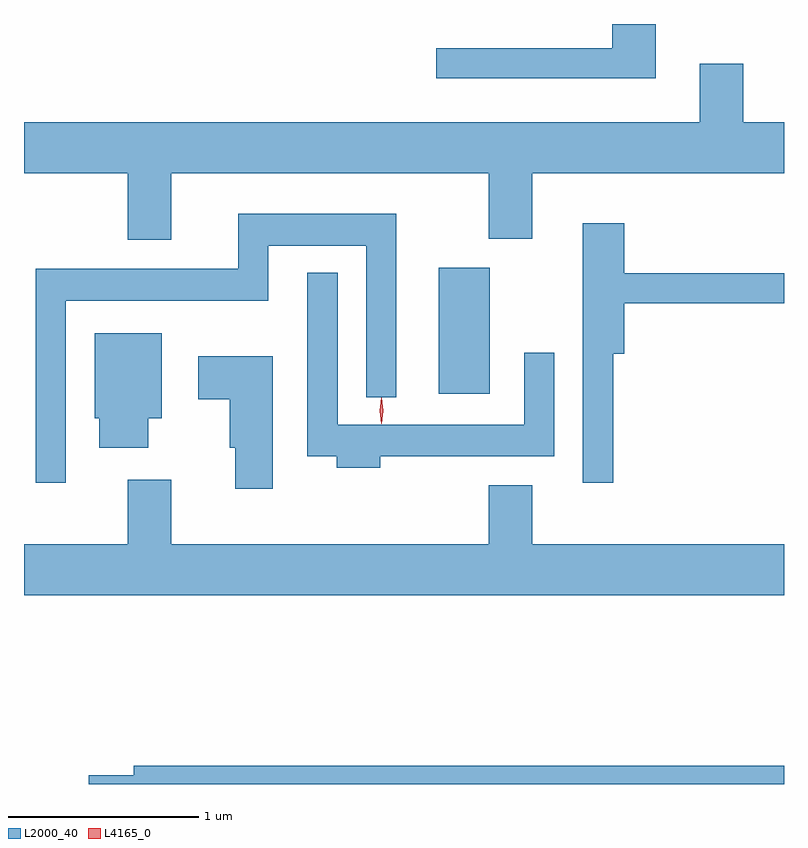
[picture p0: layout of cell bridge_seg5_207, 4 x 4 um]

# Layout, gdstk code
import gdstk
lib = gdstk.Library(unit=1e-6, precision=1e-09)
def R(c, l, rs):  # rectangles x0, y0, x1, y1
    for r in rs: c.add(gdstk.rectangle(r[:2], r[2:], *l))
def P(c, l, *ps):  # polygons
    for p in ps: c.add(gdstk.Polygon(p, *l))
L2000_40 = (2000, 40)
L4165_0 = (4165, 0)

bridge_seg5_207 = lib.new_cell('bridge_seg5_207')
R(bridge_seg5_207, L2000_40, [(1290.476,1428.996,1290.744,1429.659)])
P(bridge_seg5_207, L2000_40, [(1291.619,1430.942),(1291.391,1430.942),(1291.391,1430.814),(1290.463,1430.814),(1290.463,1430.656),(1291.619,1430.656)],
  [(1289.069,1430.156),(1290.741,1430.156),(1290.741,1429.811),(1290.969,1429.811),(1290.969,1430.156),(1292.294,1430.156),(1292.294,1430.424),(1292.079,1430.424),(1292.079,1430.734),(1291.851,1430.734),(1291.851,1430.424),(1288.294,1430.424),(1288.294,1430.156),(1288.841,1430.156),(1288.841,1429.806),(1289.069,1429.806)],
  [(1288.514,1429.486),(1289.579,1429.486),(1289.579,1429.776),(1290.096,1429.776),(1290.096,1428.978),(1290.254,1428.978),(1290.254,1429.944),(1289.421,1429.944),(1289.421,1429.654),(1288.356,1429.654),(1288.356,1428.528),(1288.514,1428.528)],
  [(1291.394,1429.206),(1291.454,1429.206),(1291.454,1429.471),(1292.294,1429.471),(1292.294,1429.629),(1291.454,1429.629),(1291.454,1429.894),(1291.236,1429.894),(1291.236,1428.528),(1291.394,1428.528)],
  [(1290.169,1428.666),(1291.084,1428.666),(1291.084,1429.213),(1290.926,1429.213),(1290.926,1428.834),(1289.944,1428.834),(1289.944,1429.633),(1289.786,1429.633),(1289.786,1428.666),(1289.941,1428.666),(1289.941,1428.606),(1290.169,1428.606)],
  [(1288.949,1428.866),(1289.019,1428.866),(1289.019,1429.314),(1288.666,1429.314),(1288.666,1428.866),(1288.691,1428.866),(1288.691,1428.711),(1288.949,1428.711)],
  [(1289.604,1429.194),(1289.211,1429.194),(1289.211,1428.966),(1289.376,1428.966),(1289.376,1428.711),(1289.406,1428.711),(1289.406,1428.496),(1289.604,1428.496)],
  [(1292.294,1428.204),(1290.969,1428.204),(1290.969,1428.514),(1290.741,1428.514),(1290.741,1428.204),(1289.069,1428.204),(1289.069,1428.544),(1288.841,1428.544),(1288.841,1428.204),(1288.294,1428.204),(1288.294,1427.936),(1292.294,1427.936)],
  [(1292.294,1427.039),(1288.871,1427.039),(1288.871,1426.989),(1288.636,1426.989),(1288.636,1426.942),(1292.294,1426.942)])
P(bridge_seg5_207, L4165_0, [(1290.176,1428.837),(1290.175,1428.838),(1290.166,1428.907),(1290.175,1428.976),(1290.176,1428.976),(1290.176,1428.976),(1290.186,1428.907),(1290.176,1428.838)],
  [(1290.176,1428.839),(1290.175,1428.84),(1290.166,1428.906),(1290.175,1428.972),(1290.176,1428.973),(1290.176,1428.972),(1290.186,1428.906),(1290.176,1428.84)])

lib.write_gds('bridge_seg5_207.gds')
